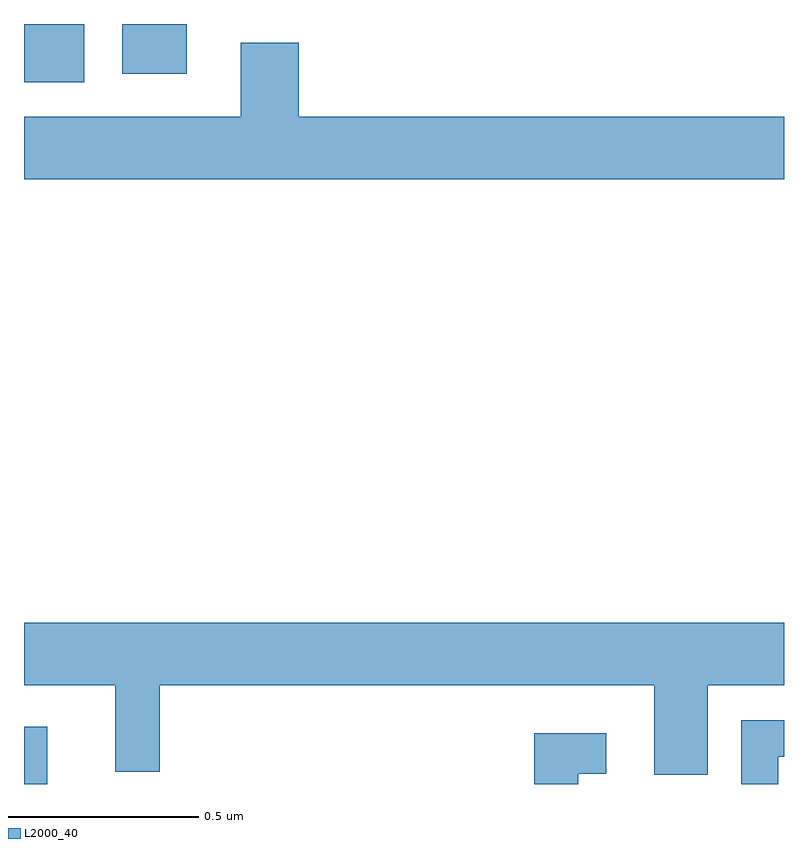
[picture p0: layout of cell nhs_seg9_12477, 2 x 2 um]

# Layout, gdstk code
import gdstk
lib = gdstk.Library(unit=1e-6, precision=1e-09)
def R(c, l, rs):  # rectangles x0, y0, x1, y1
    for r in rs: c.add(gdstk.rectangle(r[:2], r[2:], *l))
def P(c, l, *ps):  # polygons
    for p in ps: c.add(gdstk.Polygon(p, *l))
L2000_40 = (2000, 40)

nhs_seg9_12477 = lib.new_cell('nhs_seg9_12477')
R(nhs_seg9_12477, L2000_40, [(269,1189.5,269.061,1189.651), (269,1191.347,269.158,1191.5), (269.258,1191.369,269.428,1191.5)])
P(nhs_seg9_12477, L2000_40, [(271,1191.256),(269.723,1191.256),(269.723,1191.451),(269.57,1191.451),(269.57,1191.256),(269,1191.256),(269,1191.092),(271,1191.092)],
  [(270.799,1189.76),(271,1189.76),(271,1189.924),(269,1189.924),(269,1189.76),(269.24,1189.76),(269.24,1189.532),(269.357,1189.532),(269.357,1189.76),(270.659,1189.76),(270.659,1189.525),(270.799,1189.525)],
  [(270.985,1189.572),(271,1189.572),(271,1189.668),(270.888,1189.668),(270.888,1189.5),(270.985,1189.5)],
  [(270.459,1189.527),(270.532,1189.527),(270.532,1189.633),(270.343,1189.633),(270.343,1189.5),(270.459,1189.5)])

lib.write_gds('nhs_seg9_12477.gds')
